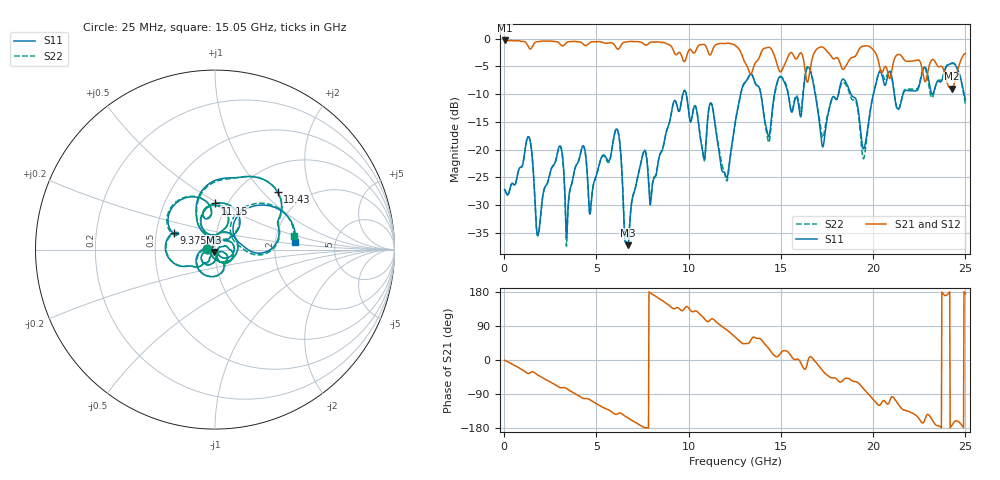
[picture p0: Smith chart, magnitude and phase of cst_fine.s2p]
! R_s4_rect_n1: Finite board 24 × 16 mm, via L1 → L4 through the L2/L3 cavity, one GND via 2 mm away
! stackup: 4-layer 1.6 mm FR-4
! ports: 1 L1, 2 L4
! CST Studio Suite 2025.5 Release from 2025-05-30, time domain (FIT, hexahedral, PBA), 656640 mesh cells, 202 s
! mesh: {'lpw': 30.0, 'lpb': 30.0, 'minstep': 0.0, 'ratio': 20}; ports: port 1 (face); port 2 (face)
! interpolated from CST's 1001 samples to the case grid
# Hz S RI R 50
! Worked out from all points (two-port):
!   1000 points, 25 MHz to 25 GHz, reference 50 ohm
!   highest |S21| = -0.34 dB at 25 MHz (marker M1); lowest = -9.0 dB at 24.25 GHz (marker M2)
!   |S21| within 3 dB of the highest: start of sweep to 9.643 GHz; 9.878 GHz to 12.93 GHz (3.051 GHz wide, 26.8 % of centre) (the widest 2 of 9)
!   lowest |S11| = -37.2 dB at 6.7 GHz (marker M3), VSWR 1.03, Z = 49.6 - j1.3 ohm
!   |S11| at or under -10 dB: start of sweep to 9.689 GHz; 9.864 GHz to 12.82 GHz (2.953 GHz wide, 26 % of centre); 16.86 GHz to 18.12 GHz (1.256 GHz wide, 7.18 % of centre) (the widest 3 of 9)
!   |S22| runs from -37.4 to -4.5 dB; largest |S21 - S12| = 0.00083
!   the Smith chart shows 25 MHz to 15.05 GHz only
!   S11 on the Smith chart (normalised r, x): 25 MHz: 0.92, +0.01; 9.375 GHz: 0.62, +0.12; 11.15 GHz: 0.88, +0.48; 13.43 GHz: 1.47, +1.22; 15.05 GHz: 2.59, +0.26
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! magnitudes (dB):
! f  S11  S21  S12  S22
! 25 MHz  -27.2  -0.3  -0.3  -27.2
! 1.325 GHz  -17.7  -1.6  -1.6  -17.7
! 1.85 GHz  -35.2  -0.6  -0.6  -35.3
! 3.025 GHz  -19.3  -1.0  -1.0  -19.4
! 3.425 GHz  -33.3  -0.6  -0.6  -33.7
! 4.2 GHz  -19.8  -0.7  -0.7  -19.8
! 4.675 GHz  -31.1  -0.7  -0.7  -31.3
! 6.125 GHz  -16.3  -1.9  -1.9  -16.4
! 6.7 GHz  -37.2  -0.6  -0.6  -36.0
! 8.35 GHz  -22.2  -0.6  -0.6  -22.2
! 9.375 GHz  -12.1  -2.8  -2.8  -12.2
! 11.15 GHz  -11.8  -3.0  -3.0  -11.8
! 12.03 GHz  -24.9  -0.9  -0.9  -25.3
! 12.53 GHz  -15.1  -1.2  -1.2  -15.1
! 13.43 GHz  -6.5  -6.1  -6.1  -6.5
! 14.32 GHz  -17.6  -1.6  -1.6  -18.6
! 15.05 GHz  -7.0  -5.7  -5.7  -7.0
! 16.68 GHz  -6.8  -3.9  -3.9  -6.6
! 19.48 GHz  -19.9  -1.3  -1.3  -21.7
! 20.85 GHz  -6.0  -6.9  -6.9  -5.8
! 24.25 GHz  -4.4  -9.0  -9.0  -4.5
! 25 GHz  -11.0  -2.7  -2.7  -11.9
